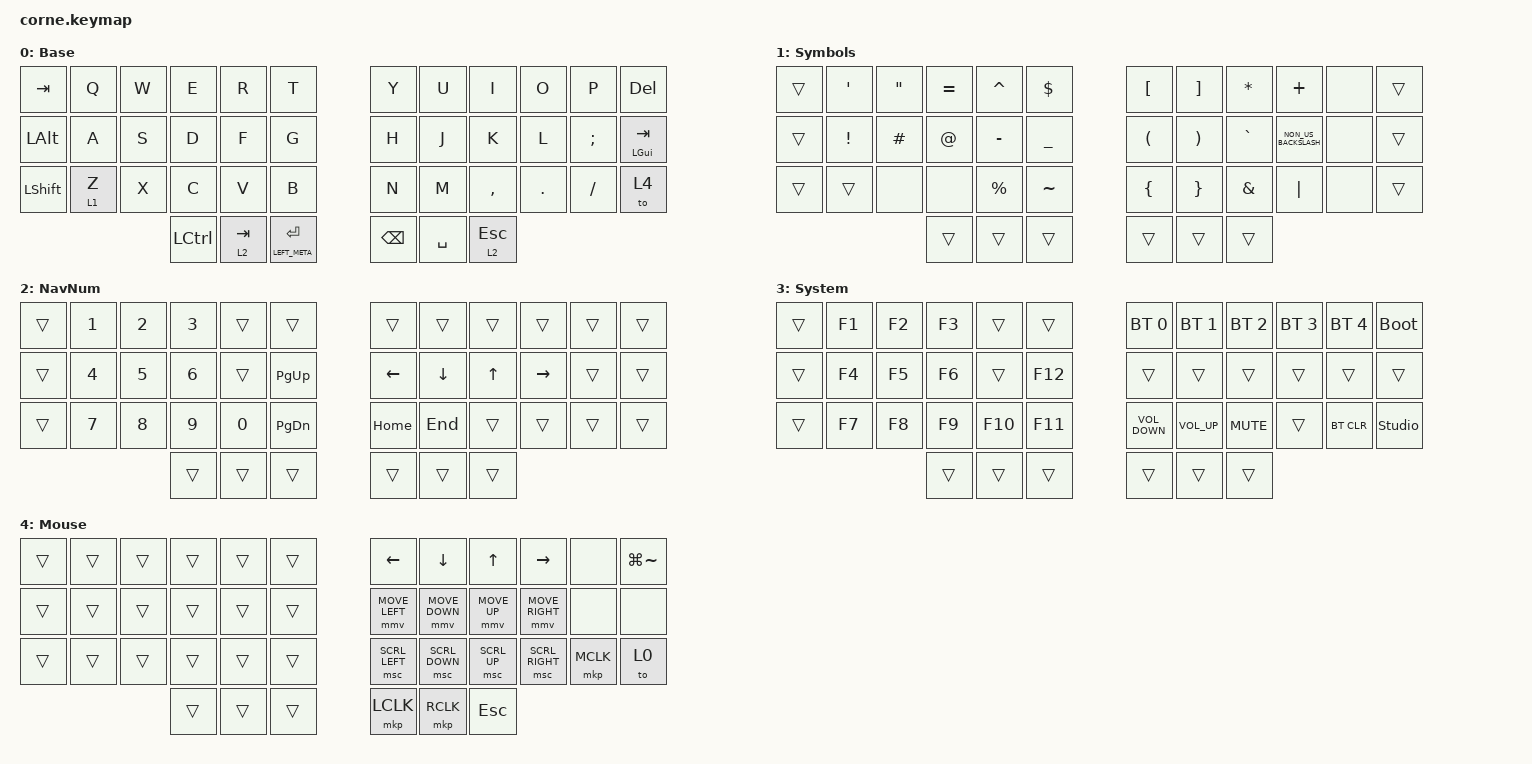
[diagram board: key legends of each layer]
#include <behaviors.dtsi>
#include <dt-bindings/zmk/bt.h>
#include <dt-bindings/zmk/keys.h>
#include <dt-bindings/zmk/pointing.h>

#define DEF 0
#define NAV 1
#define SYM 2
#define ADJ 3
#define EXTRA 4

/ {
    behaviors {
        hm: homerow_mods {
            compatible = "zmk,behavior-hold-tap";
            #binding-cells = <2>;
            tapping-term-ms = <200>;
            flavor = "tap-preferred";
            bindings = <&kp>, <&kp>;

            quick-tap-ms = <180>;
            require-prior-idle-ms = <120>; /* tune to taste */
        };

        para: para {
            compatible = "zmk,behavior-tap-dance";
            #binding-cells = <0>;
            bindings = <&kp LEFT_PARENTHESIS>, <&kp RIGHT_PARENTHESIS>;
        };

        caps: caps {
            compatible = "zmk,behavior-caps-word";
            #binding-cells = <0>;
            continue-list = <MINUS BACKSPACE>;
        };

        paraless: paraless {
            compatible = "zmk,behavior-mod-morph";
            bindings = <&kp LEFT_PARENTHESIS>, <&kp LESS_THAN>;

            #binding-cells = <0>;
            mods = <(MOD_LSFT)>;
        };

        paragreat: paragreat {
            compatible = "zmk,behavior-mod-morph";
            bindings = <&kp RIGHT_PARENTHESIS>, <&kp GREATER_THAN>;

            #binding-cells = <0>;
            mods = <(MOD_LSFT)>;
        };
    };

    macros {
        browsertab: browsertab {
            compatible = "zmk,behavior-macro";
            #binding-cells = <0>;
            bindings =
                <&macro_press>,
                <&kp LCTRL>,
                <&macro_tap>,
                <&kp TAB>,
                <&macro_release>,
                <&kp LCTRL>;
        };
    };

    combos {
        compatible = "zmk,combos";

        ctrl_alt {
            bindings = <&kp LA(LCTRL)>;
            key-positions = <24 25>;
        };

        SYS {
            bindings = <&mo 3>;
            key-positions = <36 41>;
        };
    };

    //

    keymap {
        compatible = "zmk,keymap";

        DEF {
            display-name = "Base";
            bindings = <
&kp TAB         &kp Q    &kp W  &kp E             &kp R      &kp T                   &kp Y          &kp U      &kp I         &kp O    &kp P     &kp DELETE
&kp LEFT_ALT    &kp A    &kp S  &kp D             &kp F      &kp G                   &kp H          &kp J      &kp K         &kp L    &kp SEMI  &mt LEFT_GUI TAB
&kp LEFT_SHIFT  &lt 1 Z  &kp X  &kp C             &kp V      &kp B                   &kp N          &kp M      &kp COMMA     &kp DOT  &kp FSLH  &to 4
                                &kp LEFT_CONTROL  &lt 2 TAB  &mt LEFT_META RETURN    &kp BACKSPACE  &kp SPACE  &lt 2 ESCAPE
            >;
        };

        SYM {
            display-name = "Symbols";
            bindings = <
&trans  &kp SQT          &kp DOUBLE_QUOTES  &kp EQUAL    &kp CARET    &kp DOLLAR        &kp LEFT_BRACKET      &kp RIGHT_BRACKET      &kp ASTRK      &kp PLUS              &none  &trans
&trans  &kp EXCLAMATION  &kp HASH           &kp AT_SIGN  &kp MINUS    &kp UNDERSCORE    &kp LEFT_PARENTHESIS  &kp RIGHT_PARENTHESIS  &kp GRAVE      &kp NON_US_BACKSLASH  &none  &trans
&trans  &trans           &none              &none        &kp PERCENT  &kp TILDE         &kp LEFT_BRACE        &kp RIGHT_BRACE        &kp AMPERSAND  &kp PIPE              &none  &trans
                                            &trans       &trans       &trans            &trans                &trans                 &trans
            >;
        };

        NAV {
            bindings = <
&trans  &kp NUMBER_1  &kp NUMBER_2  &kp NUMBER_3  &trans  &trans           &trans          &trans          &trans        &trans           &trans  &trans
&trans  &kp NUMBER_4  &kp NUMBER_5  &kp NUMBER_6  &trans  &kp PAGE_UP      &kp LEFT_ARROW  &kp DOWN_ARROW  &kp UP_ARROW  &kp RIGHT_ARROW  &trans  &trans
&trans  &kp NUMBER_7  &kp NUMBER_8  &kp NUMBER_9  &kp N0  &kp PAGE_DOWN    &kp HOME        &kp END         &trans        &trans           &trans  &trans
                                    &trans        &trans  &trans           &trans          &trans          &trans
            >;

            label = "NavNum";
        };

        SYS {
            display-name = "System";
            bindings = <
&trans  &kp F1  &kp F2  &kp F3  &trans   &trans     &bt BT_SEL 0       &bt BT_SEL 1     &bt BT_SEL 2  &bt BT_SEL 3  &bt BT_SEL 4  &bootloader
&trans  &kp F4  &kp F5  &kp F6  &trans   &kp F12    &trans             &trans           &trans        &trans        &trans        &trans
&trans  &kp F7  &kp F8  &kp F9  &kp F10  &kp F11    &kp C_VOLUME_DOWN  &kp C_VOLUME_UP  &kp K_MUTE    &trans        &bt BT_CLR    &studio_unlock
                        &trans  &trans   &trans     &trans             &trans           &trans
            >;
        };

        MOU {
            bindings = <
&trans  &trans  &trans  &trans  &trans  &trans    &kp LEFT_ARROW  &kp DOWN_ARROW  &kp UP_ARROW  &kp RIGHT_ARROW  &none      &kp LG(TILDE)
&trans  &trans  &trans  &trans  &trans  &trans    &mmv MOVE_LEFT  &mmv MOVE_DOWN  &mmv MOVE_UP  &mmv MOVE_RIGHT  &none      &none
&trans  &trans  &trans  &trans  &trans  &trans    &msc SCRL_LEFT  &msc SCRL_DOWN  &msc SCRL_UP  &msc SCRL_RIGHT  &mkp MCLK  &to 0
                        &trans  &trans  &trans    &mkp LCLK       &mkp RCLK       &kp ESCAPE
            >;

            label = "Mouse";
        };
    };
};
